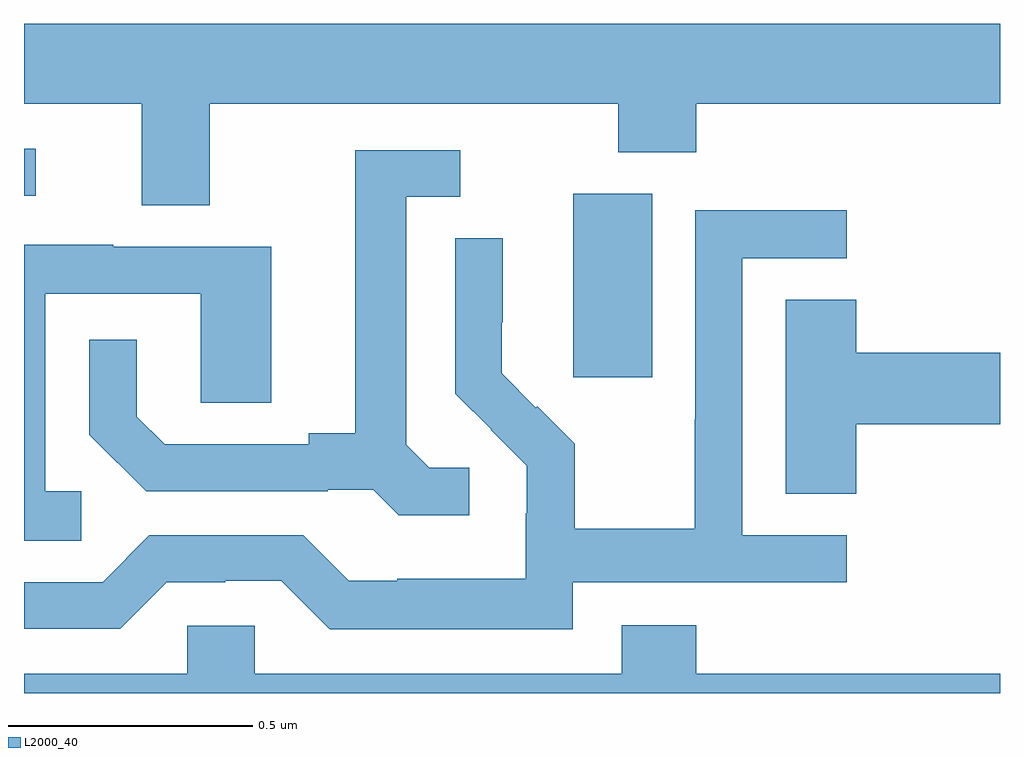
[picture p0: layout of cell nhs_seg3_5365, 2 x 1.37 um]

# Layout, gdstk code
import gdstk
lib = gdstk.Library(unit=1e-6, precision=1e-09)
def R(c, l, rs):  # rectangles x0, y0, x1, y1
    for r in rs: c.add(gdstk.rectangle(r[:2], r[2:], *l))
def P(c, l, *ps):  # polygons
    for p in ps: c.add(gdstk.Polygon(p, *l))
L2000_40 = (2000, 40)

nhs_seg3_5365 = lib.new_cell('nhs_seg3_5365')
R(nhs_seg3_5365, L2000_40, [(179.126,675.048,179.287,675.424), (178,675.42,178.024,675.516)])
P(nhs_seg3_5365, L2000_40, [(178.381,675.608),(179.218,675.608),(179.218,675.509),(179.378,675.509),(179.378,675.608),(180,675.608),(180,675.772),(178,675.772),(178,675.608),(178.241,675.608),(178.241,675.4),(178.381,675.4)],
  [(178.912,674.862),(178.83,674.862),(178.783,674.909),(178.783,675.417),(178.894,675.417),(178.894,675.513),(178.679,675.513),(178.679,674.933),(178.583,674.933),(178.583,674.91),(178.288,674.91),(178.231,674.967),(178.231,675.124),(178.134,675.124),(178.134,674.93),(178.25,674.814),(178.622,674.814),(178.622,674.817),(178.716,674.817),(178.768,674.765),(178.912,674.765)],
  [(179.124,674.628),(179.686,674.628),(179.686,674.724),(179.472,674.724),(179.472,675.291),(179.686,675.291),(179.686,675.39),(179.376,675.39),(179.376,674.96),(179.374,674.96),(179.374,674.737),(179.129,674.737),(179.129,674.911),(179.052,674.988),(179.049,674.985),(178.979,675.056),(178.979,675.16),(178.981,675.16),(178.981,675.332),(178.884,675.332),(178.884,675.014),(178.957,674.941),(178.956,674.94),(179.03,674.866),(179.03,674.769),(179.028,674.769),(179.028,674.635),(178.765,674.635),(178.765,674.631),(178.665,674.631),(178.572,674.724),(178.257,674.724),(178.161,674.628),(178,674.628),(178,674.532),(178.197,674.532),(178.293,674.628),(178.412,674.628),(178.412,674.631),(178.527,674.631),(178.627,674.531),(179.124,674.531)],
  [(178.117,674.814),(178.044,674.814),(178.044,675.219),(178.362,675.219),(178.362,674.995),(178.507,674.995),(178.507,675.315),(178.183,675.315),(178.183,675.319),(178,675.319),(178,674.713),(178.117,674.713)],
  [(179.705,674.951),(180,674.951),(180,675.098),(179.705,675.098),(179.705,675.206),(179.561,675.206),(179.561,674.809),(179.705,674.809)],
  [(180,674.44),(179.378,674.44),(179.378,674.539),(179.225,674.539),(179.225,674.44),(178.473,674.44),(178.473,674.538),(178.335,674.538),(178.335,674.44),(178,674.44),(178,674.4),(180,674.4)])

lib.write_gds('nhs_seg3_5365.gds')
